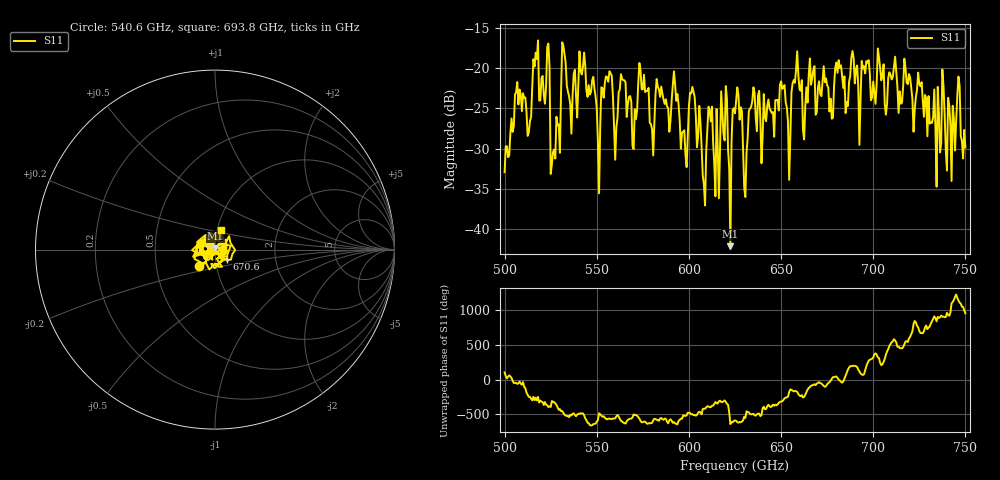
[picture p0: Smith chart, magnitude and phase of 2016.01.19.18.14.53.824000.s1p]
!Created with skrf (http://scikit-rf.org).
# GHz S RI R 50.0
!freq ReS11 ImS11
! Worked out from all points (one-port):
!   401 points, 500 GHz to 750 GHz, reference 50 ohm
!   lowest |S11| = -42.2 dB at 622.5 GHz (marker M1), VSWR 1.02, Z = 50.2 + j0.759 ohm
!   |S11| at or under -10 dB: start of sweep to end of sweep
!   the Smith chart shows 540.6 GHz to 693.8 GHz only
!   S11 on the Smith chart (normalised r, x): 540.6 GHz: 0.82, -0.15; 670.6 GHz: 1.13, -0.12; 693.8 GHz: 1.04, +0.22
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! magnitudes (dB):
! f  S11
! 500 GHz  -32.9
! 506.9 GHz  -21.7
! 513.1 GHz  -28.0
! 516.9 GHz  -18.0
! 523.1 GHz  -17.3
! 526.2 GHz  -30.4
! 531.2 GHz  -16.8
! 540.6 GHz  -17.9
! 550.6 GHz  -29.2
! 555.6 GHz  -21.1
! 562.5 GHz  -22.6
! 593.8 GHz  -23.2
! 598.1 GHz  -30.8
! 601.9 GHz  -22.3
! 608.1 GHz  -34.4
! 611.2 GHz  -25.2
! 615 GHz  -25.1
! 618.8 GHz  -28.1
! 622.5 GHz  -42.2
! 625 GHz  -25.6
! 630.6 GHz  -36.0
! 634.4 GHz  -24.1
! 656.2 GHz  -21.9
! 670.6 GHz  -21.6
! 687.5 GHz  -20.9
! 693.8 GHz  -19.1
! 718.8 GHz  -22.0
! 750 GHz  -29.9
